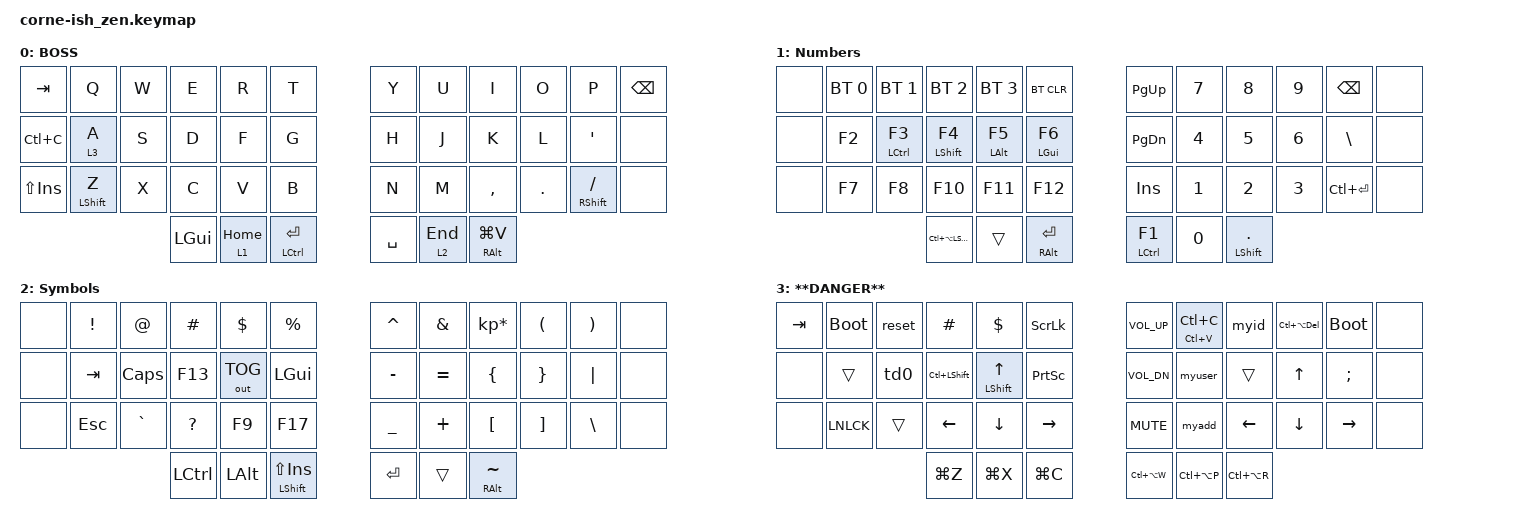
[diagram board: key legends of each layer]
/*
*
* Copyright (c) 2021 lowprokb.ca
* SPDX-License-Identifier: MIT
*
*/

#include <behaviors.dtsi>
#include <dt-bindings/zmk/keys.h>
#include <dt-bindings/zmk/bt.h>
#include <dt-bindings/zmk/outputs.h>

#define COMBO_TIMEOUT 60

#define DEFAULT 0
#define LOWER   1
#define RAISE   2
#define DANGER  3

/ {
    macros {
        email: email {
            label = "email";
            compatible = "zmk,behavior-macro";
            #binding-cells = <0>;
            bindings
                = <&macro_tap_time 10>
		,<&macro_tap &kp J &kp M &kp U &kp L &kp L &kp E &kp R &kp N8 &kp N0 &kp N8 &kp N5 &kp N1 &kp N7 &kp AT &kp G &kp M &kp A &kp I &kp L &kp DOT &kp C &kp O &kp M>
                ;
        };
	myid: myid {
            label = "myid";
            compatible = "zmk,behavior-macro";
            #binding-cells = <0>;
            bindings
                = <&macro_tap_time 10> 
		,<&macro_tap &kp N2 &kp N0 &kp N4 &kp N6 &kp N7 &kp N7>
                ;
        };
	myph: myph {
            label = "myph";
            compatible = "zmk,behavior-macro";
            #binding-cells = <0>;
            bindings
                = <&macro_tap_time 10> 
		,<&macro_tap &kp N7 &kp N7 &kp N3 &kp N7 &kp N1 &kp N0 &kp N5 &kp N5 &kp N4 &kp N8>
                ;
        };
	kph: kph {
            label = "kph";
            compatible = "zmk,behavior-macro";
            #binding-cells = <0>;
            bindings
                = <&macro_tap_time 10> 
		,<&macro_tap &kp N6 &kp N3 &kp N0 &kp N8 &kp N9 &kp N0 &kp N1 &kp N8 &kp N1 &kp N0>
                ;
        };
	myadd: myadd {
            label = "myadd";
            compatible = "zmk,behavior-macro";
            #binding-cells = <0>;
            bindings
                = <&macro_tap_time 10> 
		,<&macro_tap &kp N5 &kp N1 &kp N4 &kp N1 &kp SPACE &kp LS(A) &kp S &kp H &kp L &kp E &kp Y &kp SPACE &kp LS(C) &kp I &kp R &kp C &kp L &kp E>
                ;
        };
	myuser: myuser {
            label = "myuser";
            compatible = "zmk,behavior-macro";
            #binding-cells = <0>;
            bindings
                = <&macro_tap_time 10>
		,<&macro_tap &kp J &kp M &kp U &kp L &kp L &kp E &kp R &kp N8 &kp N0 &kp N8 &kp N5 &kp N1 &kp N7>
                ;
        };
    };
};

/ {
    combos {
        compatible = "zmk,combos";
        combo_danger {
            timeout-ms = <COMBO_TIMEOUT>;
            key-positions = <20 21 22>;
            bindings = <&tog 3>;
        };
	 combo_send {
            timeout-ms = <COMBO_TIMEOUT>;
            key-positions = <18 19 20>;
            bindings = <&kp LC(RET)>;
        };
	 combo_del {
            timeout-ms = <COMBO_TIMEOUT>;
            key-positions = <14 15 16>;
            bindings = <&mt RALT DEL>;
        };
	 combo_home {
            timeout-ms = <COMBO_TIMEOUT>;
            key-positions = <15 16 17>;
            bindings = <&kp LS(HOME)>;
        };
	 combo_copyp {
            timeout-ms = <COMBO_TIMEOUT>;
            key-positions = <2 3 4>;
            bindings = <&hm LC(V) LC(C)>;
	 };
	 combo_cw {
            timeout-ms = <COMBO_TIMEOUT>;
            key-positions = <3 4 5>;
            bindings = <&caps_word>;
        };
	 combo_tab {
            timeout-ms = <COMBO_TIMEOUT>;
            key-positions = <13 14 15>;
            bindings = <&kp TAB>;
        };
	 combo_esc {
            timeout-ms = <COMBO_TIMEOUT>;
            key-positions = <1 2 3>;
            bindings = <&kp ESC>;
	 };
	 combo_grave {
            timeout-ms = <COMBO_TIMEOUT>;
            key-positions = <26 27 28>;
            bindings = <&kp GRAVE>;
	};
	 combo_ctlbksp {
            timeout-ms = <COMBO_TIMEOUT>;
            key-positions = <7 8 9>;
            bindings = <&kp LC(BSPC)>;
        };
	 combo_paste {
            timeout-ms = <COMBO_TIMEOUT>;
            key-positions = <31 32 33>;
            bindings = <&kp LC(INS)>;
        };
	 combo_bksp {
            timeout-ms = <COMBO_TIMEOUT>;
            key-positions = <19 20 21>;
            bindings = <&kp BSPC>;
        };
    };
};


/ {
	behaviors {

        	td0: tap_dance_0 {
            compatible = "zmk,behavior-tap-dance";
            label = "TAP_DANCE_0";
            #binding-cells = <0>;
            tapping-term-ms = <500>;
            bindings = <&myph>, <&kph>, <&myadd>;
        };
	
	bh: layer_taps 
		{
			compatible = "zmk,behavior-hold-tap";
			label = "Layer-Tap";
			#binding-cells = <2>;
			tapping_term_ms = <215>;
            flavor = "tap-preferred";
			bindings = <&mo>, <&kp>;
        };

        hm: homerow_mods {
            compatible = "zmk,behavior-hold-tap";
            label = "HOMEROW_MODS";
            #binding-cells = <2>;
            tapping-term-ms = <170>;
            quick_tap_ms = <0>;
            flavor = "tap-preferred";
            bindings = <&kp>, <&kp>;
        };
	sm: shift_mods {
            compatible = "zmk,behavior-hold-tap";
            label = "SHIFT_MODS";
            #binding-cells = <2>;
            tapping-term-ms = <170>;
            quick_tap_ms = <0>;
            flavor = "hold-preferred";
            bindings = <&kp>, <&kp>;
        };
     };
   };

&caps_word {
	continue-list = <UNDERSCORE MINUS BACKSPACE DELETE HOME END LEFT RIGHT>;
};

/ {
        keymap {
                compatible = "zmk,keymap";

                default_layer {
// -----------------------------------------------------------------------------------------
// |  Q  |  W  |  E  |  R  |  T  |   |  Y  |  U   |  I  |  O  |  P  | 
// |  A  |  S  |  D  |  F  |  G  |   |  H  |  J   |  K  |  L  |  ;  |
// |  Z  |  X  |  C  |  V  |  B  |   |  N  |  M   |  ,  |  .  |  /  | 
//             | GUI | LWR | ENT |   | SPC | RSE  | ALT |
                        bindings = <
&kp TAB   &kp Q &kp W &kp E &kp R &kp T   &kp Y &kp U  &kp I     &kp O   &kp P &kp BSPC
&kp LC(C)   &bh 3 A &kp S &kp D &kp F &kp G   &kp H &kp J  &kp K &kp L   &kp SQT &none
&kp LS(INS)   &mt LSHFT Z &kp X &kp C &kp V &kp B   &kp N &kp M  &kp COMMA &kp DOT &mt RSHFT FSLH &none
        &kp LGUI &bh 1 HOME &mt LCTRL RET   &kp SPACE &bh 2 END &mt RALT LG(V)
                        >;

		label = "BOSS";
                };
                lower_layer {
// -----------------------------------------------------------------------------------------
// | BT1 | BT2 | BT3 | BT4 | BT5 |   |  7  |  8  |  9  | DEL | BSPC|
// |  F2 |  F3 |  F4 |  F5 |  F6 |   |  4  |  5  |  6  | PGU | PGD |
// |  F7 |  F8 |  F10|  F11|  F12|   |  1  |  2  |  3  | BSL | CTRL/ENT |
//                    | CAS |     | Alt;Ent |   | Ctrl;F1 |  0  | shift;. |
                        bindings = <
&none   &bt BT_SEL 0 &bt BT_SEL 1 &bt BT_SEL 2 &bt BT_SEL 3 &bt BT_CLR     &kp PG_UP &kp N7 &kp N8 &kp N9 &kp BSPC  &none
&none   &kp F2       &hm LCTRL F3  &hm LSHFT F4  &hm LALT F5  &hm LGUI F6         &kp PG_DN &kp N4 &kp N5 &kp N6 &kp BSLH &none
&none   &kp F7       &kp F8       &kp F10      &kp F11      &kp F12        &kp INS &kp N1 &kp N2 &kp N3  &kp LC(RET) &none
               	        &kp LC(LA(LSHFT)) &trans       &mt RALT RET      &mt LCTRL F1  &kp N0  &mt LSHFT DOT
                        >;
		label = "Numbers";
                };

                raise_layer {
// -----------------------------------------------------------------------------------------
// |  !  |  @  |  #  |  $  |  %  |   |  ^  |  &  |  *  |  (  |  )  |
// |     |     |     |     |     |   |  -  |  =  |  [  |  ]  |  \  |
// |     |     |     |     |     |   |  _  |  +  |  {  |  }  | "|" |
//                    | GUI |     | SPC |   | ENT |     | ALT |
                        bindings = <
&none   &kp EXCL &kp AT &kp HASH &kp DLLR &kp PRCNT             &kp CARET &kp AMPS  &kp KP_MULTIPLY &kp LPAR &kp RPAR  &none
&none   &kp TAB   &kp CAPS &kp F13   &out OUT_TOG &kp LGUI      &kp MINUS &kp EQUAL &kp LBRC &kp RBRC &kp PIPE &none
&none   &kp ESC   &kp GRAVE &kp QMARK   &kp F9   &kp F17             &kp UNDER &kp PLUS  &kp LBKT &kp RBKT &kp BSLH &none
        	     &kp LCTRL &kp LALT   &mt LSHFT LS(INS)   &kp RET   &trans    &mt RALT TILDE
                        >;

		label = "Symbols";
		};
		
		danger_layer {
// -----------------------------------------------------------------------------------------
// |  !  |  @  |  #  |  $  |  %  |   |  ^  |  &  |  *  |  (  |  )  |
// |     |     |     |     |     |   |  -  |  =  |  [  |  ]  |  \  |
// |     |     |     |     |     |   |  _  |  +  |  {  |  }  | "|" |
//                    | GUI |     | SPC |   | ENT |     | ALT |
                        bindings = <
&kp TAB   &bootloader  &reset &kp HASH &kp DLLR &kp SLCK              &kp C_VOL_UP &hm LC(V) LC(C)  &myid &kp LC(LA(DEL)) &bootloader &none
&none   &trans   &td0 &kp LC(LSHFT)  &mt LSHFT UP   &kp PSCRN   &kp C_VOL_DN &myuser &trans        &kp UP &kp SEMI &none
&none   &kp LNLCK   &trans &kp LEFT &kp DOWN &kp RIGHT              &kp C_MUTE &myadd  &kp LEFT        &kp DOWN &kp RIGHT &none
        	     &kp LG(Z) &kp LG(X)   &kp LG(C)   &kp LC(LA(W))   &kp LC(LA(P))    &kp LC(LA(R))
                        >;

                label = "**DANGER**";
		};
        };
};
